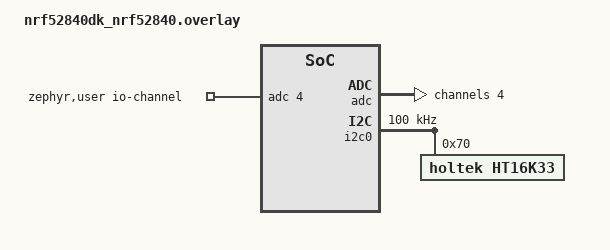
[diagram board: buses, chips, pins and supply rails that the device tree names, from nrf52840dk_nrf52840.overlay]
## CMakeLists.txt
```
cmake_minimum_required(VERSION 3.20.0)
find_package(Zephyr REQUIRED HINTS $ENV{ZEPHYR_BASE})

project(soundsensor_example)

FILE(GLOB app_sources src/*.c)
target_sources(app PRIVATE ${app_sources})
```

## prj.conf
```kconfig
CONFIG_ADC=y
CONFIG_ADC_ASYNC=y
CONFIG_ADC_NRFX_SAADC=y

CONFIG_LOG=y
CONFIG_I2C=y
CONFIG_LED=y
CONFIG_KSCAN=y
CONFIG_KSCAN_INIT_PRIORITY=95
CONFIG_HT16K33_KEYSCAN=y
```

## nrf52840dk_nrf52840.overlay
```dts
// To get started, press Ctrl+Space to bring up the completion menu and view the available nodes.

// You can also use the buttons in the sidebar to perform actions on nodes.
// Actions currently available include:

// * Enabling / disabling the node
// * Adding the bus to a bus
// * Removing the node
// * Connecting ADC channels

// For more help, browse the DeviceTree documentation at https://docs.zephyrproject.org/latest/guides/dts/index.html
// You can also visit the nRF DeviceTree extension documentation at https://nrfconnect.github.io/vscode-nrf-connect/devicetree/nrfdevicetree.html


/ {
	zephyr,user {
        io-channels = <&adc 4>;
	};
};

&adc {
	#address-cells = <1>;
	#size-cells = <0>;

	channel@4 {
		reg = <4>;
		zephyr,gain = "ADC_GAIN_1";
		zephyr,reference = "ADC_REF_INTERNAL";
		zephyr,acquisition-time = <ADC_ACQ_TIME_DEFAULT>;
		zephyr,input-positive = <NRF_SAADC_AIN4>; /* P0.28 */
		zephyr,resolution = <10>;
	};
};

&i2c0 {
	clock-frequency = <I2C_BITRATE_STANDARD>;

	ht16k33@70 {
		compatible = "holtek,ht16k33";
		reg = <0x70>;
        /* Uncomment to use IRQ instead of polling: */
		/* irq-gpios = <&gpio1 8 (GPIO_PULL_UP | GPIO_ACTIVE_LOW)>; */

		keyscan {
			compatible = "holtek,ht16k33-keyscan";
		};
	};
};
```

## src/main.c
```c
#include <zephyr/device.h>
#include <zephyr/devicetree.h>
#include <zephyr/drivers/adc.h>
#include <zephyr/kernel.h>
#include <zephyr/sys/printk.h>
#include <zephyr/sys/util.h>

#include "led.h"

#if !DT_NODE_EXISTS(DT_PATH(zephyr_user)) || \
	!DT_NODE_HAS_PROP(DT_PATH(zephyr_user), io_channels)
#error "No suitable devicetree overlay specified"
#endif

#define DT_SPEC_AND_COMMA(node_id, prop, idx) \
	ADC_DT_SPEC_GET_BY_IDX(node_id, idx),

/* Data of ADC io-channels specified in devicetree. */
static const struct adc_dt_spec adc_channels[] = {
	DT_FOREACH_PROP_ELEM(DT_PATH(zephyr_user), io_channels,
			     DT_SPEC_AND_COMMA)
};

#define MAX_SENSORVALUE 1000
#define MIN_SENSORVALUE 8
#define SENSOR_INVALID_VALUE 65500

long map(long x, long in_min, long in_max, long out_min, long out_max)
{
        return (x - in_min) * (out_max - out_min) / (in_max - in_min) + out_min;
}

int main(void)
{
	int err;
	uint32_t count = 0;
	uint16_t buf;
        uint32_t sound_value = 0;

	struct adc_sequence sequence = {
		.buffer = &buf,
		/* buffer size in bytes, not number of samples */
		.buffer_size = sizeof(buf),
                // .oversampling = 0,
                // .calibrate = 0,
	};

        // printk("Sound Sensor : array_size [%d]\n", ARRAY_SIZE(adc_channels));
	/* Configure channels individually prior to sampling. */
	for (size_t i = 0U; i < ARRAY_SIZE(adc_channels); i++) {
		if (!adc_is_ready_dt(&adc_channels[i])) {
			printk("ADC controller device %s not ready\n", adc_channels[i].dev->name);
			return 0;
		}

		err = adc_channel_setup_dt(&adc_channels[i]);
		if (err < 0) {
			printk("Could not setup channel #%d (%d)\n", i, err);
			return 0;
		}
	}

	// led_init();
	// led_set_brightness(led, 0, 0);

	while (1) {
		printk("ADC reading[%u]:\n", count++);

		(void)adc_sequence_init_dt(&adc_channels[0], &sequence);
		err = adc_read(adc_channels[0].dev, &sequence);
		if (err < 0) {
			printk("Could not read (%d)\n", err);
			k_sleep(K_MSEC(100));
			continue;
		}

		sound_value = (int32_t)buf;
                if(sound_value >= SENSOR_INVALID_VALUE){
			printk("sound_value: invalid data %" PRIu32 "\n", sound_value);
			k_sleep(K_MSEC(100));
			continue;
		}
		int sound_level = map(sound_value, 0, MAX_SENSORVALUE, 0, MIN_SENSORVALUE);
		printk("sound_value: %" PRIu32 " sound_level : %d\n", sound_value, sound_level);


		// if(sound_level > 7){
		// 	led_off_all();
		// } else {
		// 	led_on_idx(sound_level);
		// }

		k_sleep(K_MSEC(100));
	}
	return 0;
}
```

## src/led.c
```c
#include "led.h"

int led_init(void)
{
    if(!device_is_ready(led)){
        printk("LED device %s is not ready\n", led->name);
    }

    return 0;
}

void led_off_all(void)
{
    for(int i = 0; i< MAX_LED_NUM; i++){
        led_off(led, i);
    }
}

// [0]
// * * * * * * * * * * * * * * * *  0 ~ 15
// * * * * * * * * * * * * * * * * 16 ~ 31
// * * * * * * * * * * * * * * * * 32 ~ 47
// * * * * * * * * * * * * * * * * 48 ~ 63
// * * * * * * * * * * * * * * * * 64 ~ 79
// * * * * * * * * * * * * * * * * 80 ~ 95
// * * * * * * * * * * * * * * * * 96 ~ 111
// * * * * * * * * * * * * * * * * 112 ~ 127

void led_on_idx(int idx)
{
    // led_off_all();

    int _ledpoint = 16 * (7 - idx);

    for(int i = MAX_LED_NUM; i >= 0; i--){
        if(_ledpoint <= i)
            led_on(led, i);
        else
            led_off(led, i);
    }
}
```

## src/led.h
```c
#include <zephyr/drivers/led.h>
#include <zephyr/drivers/kscan.h>
#include <zephyr/devicetree.h>
#include <zephyr/kernel.h>

#define LED_NODE DT_COMPAT_GET_ANY_STATUS_OKAY(holtek_ht16k33)
#define KEY_NODE DT_CHILD(LED_NODE, keyscan)

#define MAX_LED_NUM 128
#define MAX_ROTARY_IDX 15

static const struct device *const led = DEVICE_DT_GET(LED_NODE);

int led_init(void);

void led_off_all(void);
void led_on_idx(int idx);
```
